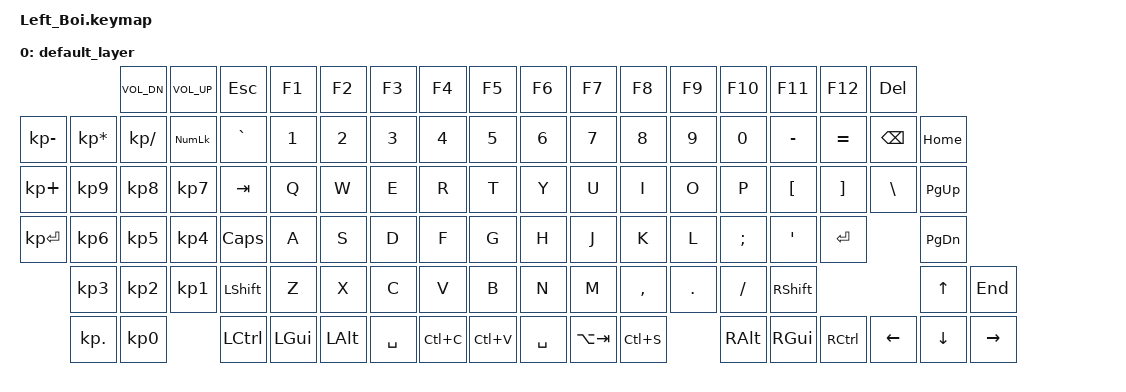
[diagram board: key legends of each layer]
/*
 * Copyright (c) 2020 The ZMK Contributors
 *
 * SPDX-License-Identifier: MIT
 */

#include <behaviors.dtsi>
#include <dt-bindings/zmk/bt.h>
#include <dt-bindings/zmk/keys.h>

/ {
    keymap {
        compatible = "zmk,keymap";

// ------------------------------------------------------------------------------------------------------------------------------------------
// |  NA  |  NA  | MAC1 | MAC2 | |  ESC | F1  | F2  | F3  | F4  | F5  |        | F6  | F7  | F8  | F9  | F10 | F11 | F12 | DEL |  NA |  NA  |
// | Num- | Num* | Num/ | NumL | |   ~  |  1  |  2  |  3  |  4  |  5  |        |  6  |  7  |  8  |  9  |  0  |  -  |  =  |BCKSP|  NA | HOME |
// | Num+ | Num9 | Num8 | Num7 | |  TAB |  Q  |  W  |  E  |  R  |  T  |        |  Y  |  U  |  I  |  O  |  P  |  [  |  ]  |  \  |  NA | PGUP |
// | NumE | Num6 | Num5 | Num4 | | CAPS |  A  |  S  |  D  |  F  |  G  |        |  H  |  J  |  K  |  L  |  ;  |  '  |R-ENT|  NA |  NA | PGDN |
// |  NA  | Num3 | Num2 | Num1 | |SHIFT |  Z  |  X  |  C  |  V  |  B  |        |  N  |  M  |  ,  |  .  |  /  |R-SHT|  NA |  NA | UP  |  END |
// |  NA  | Num. | Num0 |  NA  | | CTRL | WIN | ALT | SPA | MAC3| MAC4|        | SPA | MAC5| MAC6|  NA |R-ALT|R-WIN|RCTRL| LEFT| DWN | RIGHT|
// ------------------------------------------------------------------------------------------------------------------------------------------

        default_layer {
            bindings = <
                                   &kp C_VOL_DN  &kp C_VOL_UP &kp ESC    &kp F1    &kp F2    &kp F3    &kp F4    &kp F5    /**/  &kp F6    &kp F7       &kp F8     &kp F9   &kp F10  &kp F11    &kp F12   &kp DEL    
    &kp KP_MINUS   &kp KP_MULTIPLY &kp KP_SLASH  &kp KP_NUM   &kp GRAVE  &kp N1    &kp N2    &kp N3    &kp N4    &kp N5    /**/  &kp N6    &kp N7       &kp N8     &kp N9   &kp N0   &kp MINUS  &kp EQUAL &kp BSPC           &kp HOME  
    &kp KP_PLUS    &kp KP_N9       &kp KP_N8     &kp KP_N7    &kp TAB    &kp Q     &kp W     &kp E     &kp R     &kp T     /**/  &kp Y     &kp U        &kp I      &kp O    &kp P    &kp LBKT   &kp RBKT  &kp BSLH           &kp PG_UP 
    &kp KP_ENTER   &kp KP_N6       &kp KP_N5     &kp KP_N4    &kp CAPS   &kp A     &kp S     &kp D     &kp F     &kp G     /**/  &kp H     &kp J        &kp K      &kp L    &kp SEMI &kp SQT    &kp RET                      &kp PG_DN 
                   &kp KP_N3       &kp KP_N2     &kp KP_N1    &kp LSHFT  &kp Z     &kp X     &kp C     &kp V     &kp B     /**/  &kp N     &kp M        &kp COMMA  &kp DOT  &kp FSLH &kp RSHFT                      &kp UP   &kp END 
                   &kp KP_DOT      &kp KP_N0                  &kp LCTRL  &kp LGUI  &kp LALT  &kp SPACE &kp LC(C) &kp LC(V) /**/  &kp SPACE &kp LA(TAB)  &kp LC(S)           &kp RALT &kp RGUI   &kp RCTRL &kp LEFT  &kp DOWN &kp RIGHT
            >;
        };
    };
};
